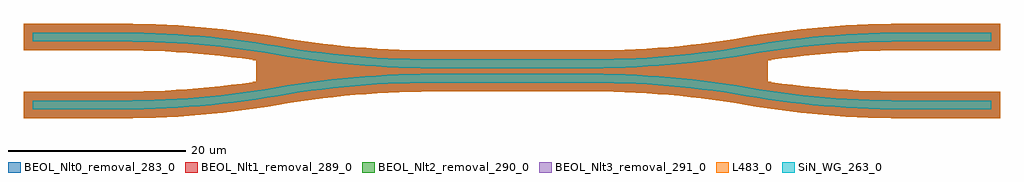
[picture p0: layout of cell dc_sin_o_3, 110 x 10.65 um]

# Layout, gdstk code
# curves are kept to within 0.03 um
import gdstk
lib = gdstk.Library(unit=1e-6, precision=1e-09)
def R(c, l, rs):  # rectangles x0, y0, x1, y1
    for r in rs: c.add(gdstk.rectangle(r[:2], r[2:], *l))
def P(c, l, *ps):  # polygons
    for p in ps: c.add(gdstk.Polygon(p, *l))
SiN_WG_263_0 = (263, 0)
BEOL_Nlt0_removal_283_0 = (283, 0)
BEOL_Nlt1_removal_289_0 = (289, 0)
BEOL_Nlt2_removal_290_0 = (290, 0)
BEOL_Nlt3_removal_291_0 = (291, 0)
L483_0 = (483, 0)

c_v2 = lib.new_cell('V2')
R(c_v2, SiN_WG_263_0, [(0,0,10,1), (98,0,108,1), (45,3,63,4), (45,4.65,63,5.65), (0,7.65,10,8.65), (98,7.65,108,8.65)])
P(c_v2, SiN_WG_263_0, [(98,0),(94.214,0.068),(91.693,0.192),(89.176,0.376),(86.664,0.623),(84.158,0.93),(80.415,1.507),(80.585,2.493),(84.291,1.922),(86.773,1.617),(89.261,1.373),(93.002,1.121),(95.5,1.03),(98,1)],
  [(80.415,1.507),(76.709,2.078),(74.227,2.383),(71.739,2.627),(67.998,2.879),(65.5,2.97),(63,3),(63,4),(66.786,3.932),(70.566,3.724),(74.336,3.377),(78.092,2.893),(80.585,2.493)],
  [(27.585,1.507),(27.415,2.493),(29.908,2.893),(33.664,3.377),(37.434,3.724),(41.214,3.932),(45,4),(45,3),(42.5,2.97),(40.002,2.879),(36.261,2.627),(33.773,2.383),(31.291,2.078)],
  [(10,0),(10,1),(12.5,1.03),(14.998,1.121),(18.739,1.373),(21.227,1.617),(23.709,1.922),(27.415,2.493),(27.585,1.507),(23.842,0.93),(21.336,0.623),(18.824,0.376),(16.307,0.192),(13.786,0.068)],
  [(80.585,6.157),(80.415,7.143),(82.908,7.543),(86.664,8.027),(90.434,8.374),(94.214,8.582),(98,8.65),(98,7.65),(95.5,7.62),(93.002,7.529),(89.261,7.277),(86.773,7.033),(84.291,6.728)],
  [(63,4.65),(63,5.65),(65.5,5.68),(67.998,5.771),(71.739,6.023),(74.227,6.267),(76.709,6.572),(80.415,7.143),(80.585,6.157),(76.842,5.58),(74.336,5.273),(71.824,5.026),(69.307,4.842),(66.786,4.718)],
  [(45,4.65),(41.214,4.718),(38.693,4.842),(36.176,5.026),(33.664,5.273),(31.158,5.58),(27.415,6.157),(27.585,7.143),(31.291,6.572),(33.773,6.267),(36.261,6.023),(40.002,5.771),(42.5,5.68),(45,5.65)],
  [(27.415,6.157),(23.709,6.728),(21.227,7.033),(18.739,7.277),(14.998,7.529),(12.5,7.62),(10,7.65),(10,8.65),(13.786,8.582),(17.566,8.374),(21.336,8.027),(25.092,7.543),(27.585,7.143)])

v2_nit0 = lib.new_cell('V2_nit0')
P(v2_nit0, BEOL_Nlt0_removal_283_0, [(-1,-1),(-1,2),(11.244,2.007),(14.943,2.119),(19.88,2.482),(22.341,2.754),(25.158,3.141),(25.158,5.509),(23.581,5.736),(21.123,6.039),(18.652,6.281),(16.179,6.463),(13.719,6.582),(9.994,6.65),(-1,6.65),(-1,9.65),(11.274,9.643),(13.822,9.581),(16.368,9.456),(18.91,9.27),(22.712,8.874),(25.238,8.532),(31.419,7.564),(35.12,7.132),(40.057,6.769),(45.006,6.65),(63,6.65),(67.943,6.769),(71.652,7.019),(74.123,7.261),(77.795,7.735),(84.024,8.711),(87.821,9.153),(90.361,9.371),(92.904,9.527),(96.726,9.643),(109,9.65),(109,6.65),(96.756,6.643),(93.057,6.531),(88.12,6.168),(85.659,5.896),(82.842,5.509),(82.842,3.141),(84.419,2.914),(86.877,2.611),(89.348,2.369),(91.821,2.187),(94.281,2.068),(98.006,2),(109,2),(109,-1),(96.726,-0.993),(94.178,-0.931),(91.632,-0.806),(89.09,-0.62),(85.288,-0.224),(82.762,0.118),(76.581,1.086),(72.88,1.518),(67.943,1.881),(62.994,2),(45,2),(40.057,1.881),(36.348,1.631),(33.877,1.389),(30.205,0.915),(23.976,-0.061),(20.179,-0.503),(17.639,-0.721),(15.096,-0.877),(11.274,-0.993)])

v2_nit1 = lib.new_cell('V2_nit1')
P(v2_nit1, BEOL_Nlt1_removal_289_0, [(-1,-1),(-1,2),(11.244,2.007),(14.943,2.119),(19.88,2.482),(22.341,2.754),(25.158,3.141),(25.158,5.509),(23.581,5.736),(21.123,6.039),(18.652,6.281),(16.179,6.463),(13.719,6.582),(9.994,6.65),(-1,6.65),(-1,9.65),(11.274,9.643),(13.822,9.581),(16.368,9.456),(18.91,9.27),(22.712,8.874),(25.238,8.532),(31.419,7.564),(35.12,7.132),(40.057,6.769),(45.006,6.65),(63,6.65),(67.943,6.769),(71.652,7.019),(74.123,7.261),(77.795,7.735),(84.024,8.711),(87.821,9.153),(90.361,9.371),(92.904,9.527),(96.726,9.643),(109,9.65),(109,6.65),(96.756,6.643),(93.057,6.531),(88.12,6.168),(85.659,5.896),(82.842,5.509),(82.842,3.141),(84.419,2.914),(86.877,2.611),(89.348,2.369),(91.821,2.187),(94.281,2.068),(98.006,2),(109,2),(109,-1),(96.726,-0.993),(94.178,-0.931),(91.632,-0.806),(89.09,-0.62),(85.288,-0.224),(82.762,0.118),(76.581,1.086),(72.88,1.518),(67.943,1.881),(62.994,2),(45,2),(40.057,1.881),(36.348,1.631),(33.877,1.389),(30.205,0.915),(23.976,-0.061),(20.179,-0.503),(17.639,-0.721),(15.096,-0.877),(11.274,-0.993)])

v2_nit2 = lib.new_cell('V2_nit2')
P(v2_nit2, BEOL_Nlt2_removal_290_0, [(-1,-1),(-1,2),(11.244,2.007),(14.943,2.119),(19.88,2.482),(22.341,2.754),(25.158,3.141),(25.158,5.509),(23.581,5.736),(21.123,6.039),(18.652,6.281),(16.179,6.463),(13.719,6.582),(9.994,6.65),(-1,6.65),(-1,9.65),(11.274,9.643),(13.822,9.581),(16.368,9.456),(18.91,9.27),(22.712,8.874),(25.238,8.532),(31.419,7.564),(35.12,7.132),(40.057,6.769),(45.006,6.65),(63,6.65),(67.943,6.769),(71.652,7.019),(74.123,7.261),(77.795,7.735),(84.024,8.711),(87.821,9.153),(90.361,9.371),(92.904,9.527),(96.726,9.643),(109,9.65),(109,6.65),(96.756,6.643),(93.057,6.531),(88.12,6.168),(85.659,5.896),(82.842,5.509),(82.842,3.141),(84.419,2.914),(86.877,2.611),(89.348,2.369),(91.821,2.187),(94.281,2.068),(98.006,2),(109,2),(109,-1),(96.726,-0.993),(94.178,-0.931),(91.632,-0.806),(89.09,-0.62),(85.288,-0.224),(82.762,0.118),(76.581,1.086),(72.88,1.518),(67.943,1.881),(62.994,2),(45,2),(40.057,1.881),(36.348,1.631),(33.877,1.389),(30.205,0.915),(23.976,-0.061),(20.179,-0.503),(17.639,-0.721),(15.096,-0.877),(11.274,-0.993)])

v2_nit3 = lib.new_cell('V2_nit3')
P(v2_nit3, BEOL_Nlt3_removal_291_0, [(-1,-1),(-1,2),(11.244,2.007),(14.943,2.119),(19.88,2.482),(22.341,2.754),(25.158,3.141),(25.158,5.509),(23.581,5.736),(21.123,6.039),(18.652,6.281),(16.179,6.463),(13.719,6.582),(9.994,6.65),(-1,6.65),(-1,9.65),(11.274,9.643),(13.822,9.581),(16.368,9.456),(18.91,9.27),(22.712,8.874),(25.238,8.532),(31.419,7.564),(35.12,7.132),(40.057,6.769),(45.006,6.65),(63,6.65),(67.943,6.769),(71.652,7.019),(74.123,7.261),(77.795,7.735),(84.024,8.711),(87.821,9.153),(90.361,9.371),(92.904,9.527),(96.726,9.643),(109,9.65),(109,6.65),(96.756,6.643),(93.057,6.531),(88.12,6.168),(85.659,5.896),(82.842,5.509),(82.842,3.141),(84.419,2.914),(86.877,2.611),(89.348,2.369),(91.821,2.187),(94.281,2.068),(98.006,2),(109,2),(109,-1),(96.726,-0.993),(94.178,-0.931),(91.632,-0.806),(89.09,-0.62),(85.288,-0.224),(82.762,0.118),(76.581,1.086),(72.88,1.518),(67.943,1.881),(62.994,2),(45,2),(40.057,1.881),(36.348,1.631),(33.877,1.389),(30.205,0.915),(23.976,-0.061),(20.179,-0.503),(17.639,-0.721),(15.096,-0.877),(11.274,-0.993)])

v2_nitpasv = lib.new_cell('V2_nitpasv')
P(v2_nitpasv, L483_0, [(-1,-1),(-1,2),(11.244,2.007),(14.943,2.119),(19.88,2.482),(22.341,2.754),(25.158,3.141),(25.158,5.509),(23.581,5.736),(21.123,6.039),(18.652,6.281),(16.179,6.463),(13.719,6.582),(9.994,6.65),(-1,6.65),(-1,9.65),(11.274,9.643),(13.822,9.581),(16.368,9.456),(18.91,9.27),(22.712,8.874),(25.238,8.532),(31.419,7.564),(35.12,7.132),(40.057,6.769),(45.006,6.65),(63,6.65),(67.943,6.769),(71.652,7.019),(74.123,7.261),(77.795,7.735),(84.024,8.711),(87.821,9.153),(90.361,9.371),(92.904,9.527),(96.726,9.643),(109,9.65),(109,6.65),(96.756,6.643),(93.057,6.531),(88.12,6.168),(85.659,5.896),(82.842,5.509),(82.842,3.141),(84.419,2.914),(86.877,2.611),(89.348,2.369),(91.821,2.187),(94.281,2.068),(98.006,2),(109,2),(109,-1),(96.726,-0.993),(94.178,-0.931),(91.632,-0.806),(89.09,-0.62),(85.288,-0.224),(82.762,0.118),(76.581,1.086),(72.88,1.518),(67.943,1.881),(62.994,2),(45,2),(40.057,1.881),(36.348,1.631),(33.877,1.389),(30.205,0.915),(23.976,-0.061),(20.179,-0.503),(17.639,-0.721),(15.096,-0.877),(11.274,-0.993)])

dc_sin_o_3 = lib.new_cell('dc_sin_o_3')
dc_sin_o_3.add(gdstk.Reference(c_v2, (0,0)))
dc_sin_o_3.add(gdstk.Reference(v2_nit0, (0,0)))
dc_sin_o_3.add(gdstk.Reference(v2_nit1, (0,0)))
dc_sin_o_3.add(gdstk.Reference(v2_nit2, (0,0)))
dc_sin_o_3.add(gdstk.Reference(v2_nit3, (0,0)))
dc_sin_o_3.add(gdstk.Reference(v2_nitpasv, (0,0)))

lib.write_gds('dc_sin_o_3.gds')
